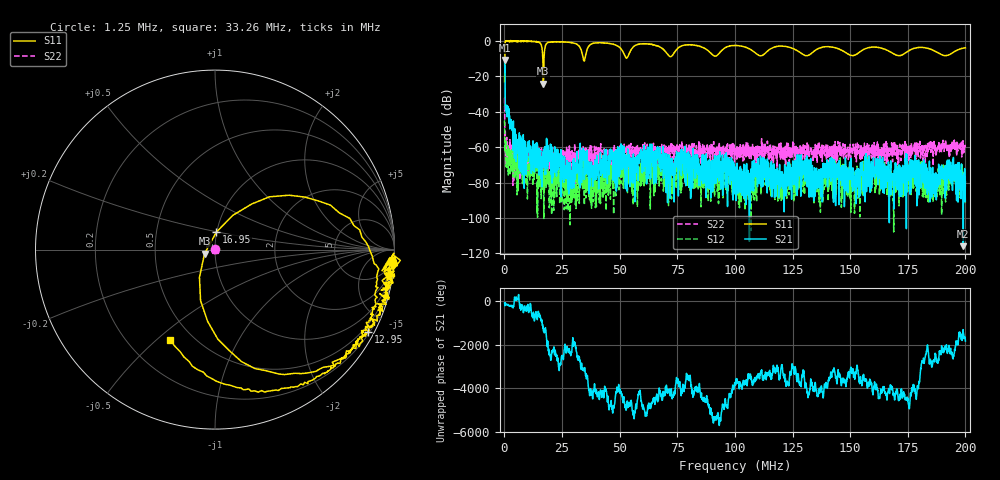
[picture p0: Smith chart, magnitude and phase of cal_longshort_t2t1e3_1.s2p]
! 26-Feb-26 1:43:33 PM
! E:\VNA_MEASUREMENTS\CAL_S11\CAL_LONGSHORT_T2T1E3_1.S2P
! CHANNEL.1
! TR.MEASUREMENT
! CORRECTED.DATA
# GHZ S RI R 50.0
! FREQ.GHZ  S11RE  S11IM  S21RE  S21IM  S12RE  S12IM  S22RE  S22IM
!; PortSelection: Port_12
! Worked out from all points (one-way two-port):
!   2000 points, 50 kHz to 200 MHz, reference 50 ohm
!   highest |S21| = -10.70 dB at 50 kHz (marker M1); lowest = -115.9 dB at 199.1 MHz (marker M2)
!   lowest |S11| = -24.1 dB at 16.85 MHz (marker M3), VSWR 1.13, Z = 44.5 - j1.97 ohm
!   |S11| at or under -10 dB: start of sweep to 176.2 kHz; 16.63 MHz to 17.15 MHz (514.9 kHz wide, 3.05 % of centre); 34.19 MHz to 34.93 MHz (735.4 kHz wide, 2.13 % of centre)
!   |S22| runs from -87.6 to -32.1 dB; largest |S21 - S12| = 0.29
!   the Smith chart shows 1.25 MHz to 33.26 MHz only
!   S11 on the Smith chart (normalised r, x): 1.25 MHz: 5, -28; 12.95 MHz: 0.28, -3.96; 16.95 MHz: 1.00, +0.20; 33.26 MHz: 0.38, -0.55
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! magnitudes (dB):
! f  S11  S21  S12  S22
! 50 kHz  -23.0  -10.7  -44.8  -32.1
! 1.25 MHz  -0.1  -37.9  -64.9  -57.0
! 6.052 MHz  0.0  -61.9  -61.3  -64.0
! 12.95 MHz  -0.3  -73.9  -70.5  -69.4
! 16.85 MHz  -24.1  -63.7  -79.2  -63.4
! 16.95 MHz  -20.2  -66.7  -74.8  -63.9
! 19.15 MHz  -0.8  -62.3  -78.3  -68.5
! 28.66 MHz  -0.8  -70.9  -84.4  -64.5
! 33.26 MHz  -5.0  -71.1  -75.6  -64.2
! 33.46 MHz  -5.8  -79.9  -74.1  -64.2
! 37.76 MHz  -1.6  -68.3  -94.5  -59.4
! 45.86 MHz  -1.5  -69.2  -73.0  -66.5
! 55.36 MHz  -4.1  -71.9  -86.5  -67.2
! 59.86 MHz  -1.6  -62.9  -79.7  -61.6
! 66.77 MHz  -2.9  -63.7  -66.7  -65.1
! 72.57 MHz  -8.5  -74.5  -80.4  -62.3
! 91.47 MHz  -8.6  -71.6  -73.8  -60.9
! 100.1 MHz  -2.5  -86.5  -87.2  -63.3
! 133.4 MHz  -6.8  -76.7  -77.2  -63.6
! 166.7 MHz  -5.6  -70.5  -82.8  -62.6
! 199.1 MHz  -4.0  -115.9  -79.9  -63.9
! 200 MHz  -3.9  -79.4  -92.5  -59.1
